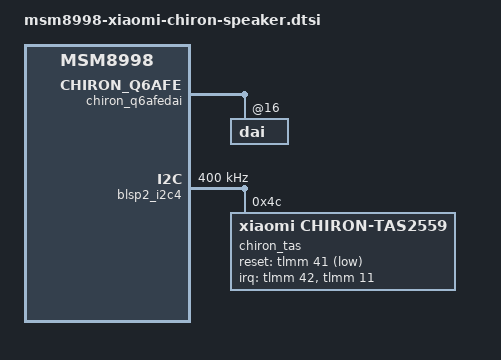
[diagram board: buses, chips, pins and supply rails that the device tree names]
// SPDX-License-Identifier: BSD-3-Clause
/* Original Chiron BLSP2 QUP4 and QUAT MI2S speaker wiring. */
/ {
	sound {
		compatible = "xiaomi,chiron-tas2559-sndcard";
		model = "Chiron Speakers";
		widgets = "Speaker", "Speaker";
		reg = <0 0x1711d000 0 4>;
		reg-names = "lpaif-quat-mode-muxsel";
		pinctrl-names = "default", "sleep";
		pinctrl-0 = <&chiron_quat_active>;
		pinctrl-1 = <&chiron_quat_sleep>;
		audio-routing = "RX_BIAS", "MCLK", "Speaker", "OUT";
		quat-playback-dai-link {
			link-name = "Quaternary MI2S Playback";
			cpu { sound-dai = <&chiron_q6afedai QUATERNARY_MI2S_RX>; };
			platform { sound-dai = <&chiron_q6routing>; };
			codec { sound-dai = <&chiron_tas>; };
		};
	};
};

&chiron_q6afedai {
	dai@16 {
		reg = <QUATERNARY_MI2S_RX>;
		qcom,sd-lines = <0>;
	};
};

&blsp2_i2c4 {
	status = "okay";
	clock-frequency = <400000>;
	chiron_tas: amplifier@4c {
		compatible = "xiaomi,chiron-tas2559";
		reg = <0x4c>;
		#sound-dai-cells = <0>;
		reset-gpios = <&tlmm 41 GPIO_ACTIVE_LOW>;
		irq-gpios = <&tlmm 42 GPIO_ACTIVE_HIGH>, <&tlmm 11 GPIO_ACTIVE_HIGH>;
		pinctrl-names = "default";
		pinctrl-0 = <&chiron_amp_reset &chiron_amp_irq>;
	};
};

&tlmm {
	chiron_amp_reset: speaker-reset-state {
		pins = "gpio41";
		function = "gpio";
		drive-strength = <2>;
		bias-disable;
	};
	chiron_amp_irq: speaker-irq-state {
		pins = "gpio42", "gpio11";
		function = "gpio";
		drive-strength = <2>;
		bias-pull-down;
		input-enable;
	};
	chiron_quat_active: speaker-mi2s-active-state {
		pins = "gpio58", "gpio59", "gpio60";
		function = "qua_mi2s";
		drive-strength = <8>;
		bias-disable;
	};
	chiron_quat_sleep: speaker-mi2s-sleep-state {
		pins = "gpio58", "gpio59", "gpio60";
		function = "gpio";
		drive-strength = <2>;
		bias-pull-down;
		input-enable;
	};
};
